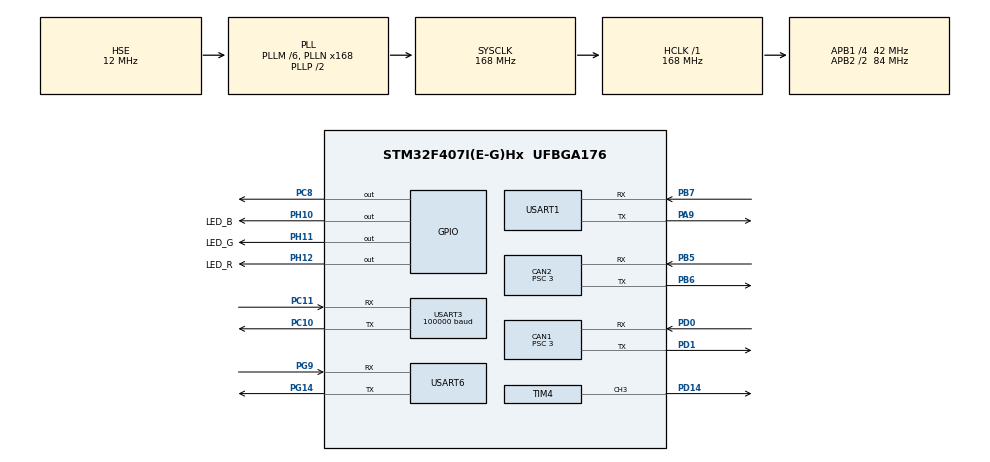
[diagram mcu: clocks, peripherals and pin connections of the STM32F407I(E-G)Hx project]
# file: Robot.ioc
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CAN1.ABOM=ENABLE
CAN1.AWUM=ENABLE
CAN1.BS1=CAN_BS1_10TQ
CAN1.BS2=CAN_BS2_3TQ
CAN1.CalculateBaudRate=1000000
CAN1.CalculateTimeBit=1000
CAN1.CalculateTimeQuantum=71.42857142857143
CAN1.Prescaler=3
CAN2.ABOM=ENABLE
CAN2.AWUM=ENABLE
CAN2.BS1=CAN_BS1_10TQ
CAN2.BS2=CAN_BS2_3TQ
CAN2.CalculateBaudRate=1000000
CAN2.CalculateTimeBit=1000
CAN2.CalculateTimeQuantum=71.42857142857143
CAN2.Prescaler=3
Dma.MEMTOMEM.1.Direction=DMA_MEMORY_TO_MEMORY
Dma.MEMTOMEM.1.FIFOMode=DMA_FIFOMODE_ENABLE
Dma.MEMTOMEM.1.FIFOThreshold=DMA_FIFO_THRESHOLD_FULL
Dma.MEMTOMEM.1.Instance=DMA2_Stream0
Dma.MEMTOMEM.1.MemBurst=DMA_MBURST_SINGLE
Dma.MEMTOMEM.1.MemDataAlignment=DMA_MDATAALIGN_BYTE
Dma.MEMTOMEM.1.MemInc=DMA_MINC_ENABLE
Dma.MEMTOMEM.1.Mode=DMA_NORMAL
Dma.MEMTOMEM.1.PeriphBurst=DMA_PBURST_SINGLE
Dma.MEMTOMEM.1.PeriphDataAlignment=DMA_PDATAALIGN_BYTE
Dma.MEMTOMEM.1.PeriphInc=DMA_PINC_ENABLE
Dma.MEMTOMEM.1.Priority=DMA_PRIORITY_LOW
Dma.Request0=USART3_RX
Dma.Request1=MEMTOMEM
Dma.Request2=USART6_RX
Dma.USART3_RX.0.Direction=DMA_PERIPH_TO_MEMORY
Dma.USART3_RX.0.FIFOMode=DMA_FIFOMODE_DISABLE
Dma.USART3_RX.0.Instance=DMA1_Stream1
Dma.USART3_RX.0.MemDataAlignment=DMA_MDATAALIGN_BYTE
Dma.USART3_RX.0.MemInc=DMA_MINC_ENABLE
Dma.USART3_RX.0.Mode=DMA_NORMAL
Dma.USART3_RX.0.PeriphDataAlignment=DMA_PDATAALIGN_BYTE
Dma.USART3_RX.0.PeriphInc=DMA_PINC_DISABLE
Dma.USART3_RX.0.Priority=DMA_PRIORITY_VERY_HIGH
Dma.USART6_RX.2.Direction=DMA_PERIPH_TO_MEMORY
Dma.USART6_RX.2.FIFOMode=DMA_FIFOMODE_DISABLE
Dma.USART6_RX.2.Instance=DMA2_Stream1
Dma.USART6_RX.2.MemDataAlignment=DMA_MDATAALIGN_BYTE
Dma.USART6_RX.2.MemInc=DMA_MINC_ENABLE
Dma.USART6_RX.2.Mode=DMA_NORMAL
Dma.USART6_RX.2.PeriphDataAlignment=DMA_PDATAALIGN_BYTE
Dma.USART6_RX.2.PeriphInc=DMA_PINC_DISABLE
Dma.USART6_RX.2.Priority=DMA_PRIORITY_MEDIUM
FREERTOS.Queues01=rcDataQueue,1,18,1,Dynamic,NULL,NULL;CtoCQueue,1,8,1,Dynamic,NULL,NULL;guardQueue,1,14,1,Dynamic,NULL,NULL
FREERTOS.Tasks01=DebugTask,24,128,StartDebugTask,Default,NULL,Dynamic,NULL,NULL;RemoteTask,24,128,StartRemoteTask,Default,NULL,Dynamic,NULL,NULL;CanTask,23,128,StartCanTask,Default,NULL,Dynamic,NULL,NULL;TOTask,20,128,StartTOTask,Default,NULL,Dynamic,NULL,NULL;CalTask,22,512,StartCalTask,Default,NULL,Dynamic,NULL,NULL
IWDG.Prescaler=IWDG_PRESCALER_128
IWDG.Reload=1250
Mcu.Family=STM32F4
Mcu.Name=STM32F407I(E-G)Hx
Mcu.Package=UFBGA176
NVIC.CAN1_RX0_IRQn=true\:5\:0\:false\:false\:true\:true\:true\:true\:true
NVIC.CAN1_RX1_IRQn=true\:5\:0\:false\:false\:true\:true\:true\:true\:true
NVIC.CAN2_RX0_IRQn=true\:5\:0\:false\:false\:true\:true\:true\:true\:true
NVIC.CAN2_RX1_IRQn=true\:5\:0\:false\:false\:true\:true\:true\:true\:true
NVIC.DMA1_Stream1_IRQn=true\:5\:0\:false\:false\:true\:true\:false\:true\:true
NVIC.DMA2_Stream1_IRQn=true\:5\:0\:false\:false\:true\:true\:false\:true\:true
NVIC.PriorityGroup=NVIC_PRIORITYGROUP_4
NVIC.TIM6_DAC_IRQn=true\:15\:0\:false\:false\:true\:false\:false\:true\:true
NVIC.TimeBase=TIM6_DAC_IRQn
NVIC.TimeBaseIP=TIM6
NVIC.USART1_IRQn=true\:5\:0\:false\:false\:true\:true\:true\:true\:true
NVIC.USART3_IRQn=true\:5\:0\:false\:false\:true\:true\:true\:true\:true
PA13.Mode=Serial_Wire
PA13.Signal=SYS_JTMS-SWDIO
PA14.Mode=Serial_Wire
PA14.Signal=SYS_JTCK-SWCLK
PA9.Mode=Asynchronous
PA9.Signal=USART1_TX
PB5.Mode=CAN_Activate
PB5.Signal=CAN2_RX
PB6.Mode=CAN_Activate
PB6.Signal=CAN2_TX
PB7.Mode=Asynchronous
PB7.Signal=USART1_RX
PC10.Mode=Asynchronous
PC10.Signal=USART3_TX
PC11.Mode=Asynchronous
PC11.Signal=USART3_RX
PC8.Signal=GPIO_Output
PD0.Mode=CAN_Activate
PD0.Signal=CAN1_RX
PD1.Mode=CAN_Activate
PD1.Signal=CAN1_TX
PD14.Signal=S_TIM4_CH3
PG14.Mode=Asynchronous
PG14.Signal=USART6_TX
PG9.Mode=Asynchronous
PG9.Signal=USART6_RX
PH0-OSC_IN.Mode=HSE-External-Oscillator
PH0-OSC_IN.Signal=RCC_OSC_IN
PH1-OSC_OUT.Mode=HSE-External-Oscillator
PH1-OSC_OUT.Signal=RCC_OSC_OUT
PH10.GPIO_Label=LED_B
PH10.Signal=GPIO_Output
PH11.GPIO_Label=LED_G
PH11.Signal=GPIO_Output
PH12.GPIO_Label=LED_R
PH12.Signal=GPIO_Output
ProjectManager.HeapSize=0x200
ProjectManager.StackSize=0x400
ProjectManager.TargetToolchain=STM32CubeIDE
RCC.48MHZClocksFreq_Value=84000000
RCC.AHBFreq_Value=168000000
RCC.APB1CLKDivider=RCC_HCLK_DIV4
RCC.APB1Freq_Value=42000000
RCC.APB1TimFreq_Value=84000000
RCC.APB2CLKDivider=RCC_HCLK_DIV2
RCC.APB2Freq_Value=84000000
RCC.APB2TimFreq_Value=168000000
RCC.CortexFreq_Value=168000000
RCC.EnbaleCSS=true
RCC.HCLKFreq_Value=168000000
RCC.HSE_VALUE=12000000
RCC.HSI_VALUE=16000000
RCC.LSE_VALUE=32768
RCC.PLLM=6
RCC.PLLN=168
RCC.PLLSourceVirtual=RCC_PLLSOURCE_HSE
RCC.SYSCLKFreq_VALUE=168000000
RCC.SYSCLKSource=RCC_SYSCLKSOURCE_PLLCLK
RCC.VCOOutputFreq_Value=336000000
SH.S_TIM4_CH3.0=TIM4_CH3,PWM Generation3 CH3
TIM4.Channel-PWM\ Generation3\ CH3=TIM_CHANNEL_3
USART1.VirtualMode=VM_ASYNC
USART3.BaudRate=100000
USART3.Mode=MODE_TX_RX
USART3.Parity=PARITY_EVEN
USART3.VirtualMode=VM_ASYNC
USART3.WordLength=WORDLENGTH_9B
USART6.Parity=PARITY_NONE
USART6.VirtualMode=VM_ASYNC
VP_FREERTOS_VS_CMSIS_V2.Mode=CMSIS_V2
VP_IWDG_VS_IWDG.Mode=IWDG_Activate
VP_SYS_VS_tim6.Mode=TIM6
VP_TIM4_VS_ClockSourceINT.Mode=Internal
board=custom

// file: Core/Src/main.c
/* USER CODE BEGIN Header */
/**
  ******************************************************************************
  * @file           : main.c
  * @brief          : Main program body
  ******************************************************************************
  * @attention
  *
  * Copyright (c) 2026 STMicroelectronics.
  * All rights reserved.
  *
  * This software is licensed under terms that can be found in the LICENSE file
  * in the root directory of this software component.
  * If no LICENSE file comes with this software, it is provided AS-IS.
  *
  ******************************************************************************
  */
/* USER CODE END Header */
#include "main.h"
#include "cmsis_os.h"
#include "can.h"
#include "dma.h"
#include "iwdg.h"
#include "tim.h"
#include "usart.h"
#include "gpio.h"

void SystemClock_Config(void);
void MX_FREERTOS_Init(void);

int main(void)
{

  /* MCU Configuration--------------------------------------------------------*/

  /* Reset of all peripherals, Initializes the Flash interface and the Systick. */
  HAL_Init();

  /* Configure the system clock */
  SystemClock_Config();

  /* Initialize all configured peripherals */
  MX_GPIO_Init();
  MX_DMA_Init();
  MX_USART1_UART_Init();
  MX_USART3_UART_Init();
  MX_CAN1_Init();
  MX_CAN2_Init();
  MX_USART6_UART_Init();
  MX_IWDG_Init();
  MX_TIM4_Init();

  /* Init scheduler */
  osKernelInitialize();  /* Call init function for freertos objects (in cmsis_os2.c) */
  MX_FREERTOS_Init();

  /* Start scheduler */
  osKernelStart();

  /* We should never get here as control is now taken by the scheduler */

  /* Infinite loop */
  while (1)
  {

  }
}

void SystemClock_Config(void)
{
  RCC_OscInitTypeDef RCC_OscInitStruct = {0};
  RCC_ClkInitTypeDef RCC_ClkInitStruct = {0};

  /** Configure the main internal regulator output voltage
  */
  __HAL_RCC_PWR_CLK_ENABLE();
  __HAL_PWR_VOLTAGESCALING_CONFIG(PWR_REGULATOR_VOLTAGE_SCALE1);

  /** Initializes the RCC Oscillators according to the specified parameters
  * in the RCC_OscInitTypeDef structure.
  */
  RCC_OscInitStruct.OscillatorType = RCC_OSCILLATORTYPE_LSI|RCC_OSCILLATORTYPE_HSE;
  RCC_OscInitStruct.HSEState = RCC_HSE_ON;
  RCC_OscInitStruct.LSIState = RCC_LSI_ON;
  RCC_OscInitStruct.PLL.PLLState = RCC_PLL_ON;
  RCC_OscInitStruct.PLL.PLLSource = RCC_PLLSOURCE_HSE;
  RCC_OscInitStruct.PLL.PLLM = 6;
  RCC_OscInitStruct.PLL.PLLN = 168;
  RCC_OscInitStruct.PLL.PLLP = RCC_PLLP_DIV2;
  RCC_OscInitStruct.PLL.PLLQ = 4;
  if (HAL_RCC_OscConfig(&RCC_OscInitStruct) != HAL_OK)
  {
    Error_Handler();
  }

  /** Initializes the CPU, AHB and APB buses clocks
  */
  RCC_ClkInitStruct.ClockType = RCC_CLOCKTYPE_HCLK|RCC_CLOCKTYPE_SYSCLK
                              |RCC_CLOCKTYPE_PCLK1|RCC_CLOCKTYPE_PCLK2;
  RCC_ClkInitStruct.SYSCLKSource = RCC_SYSCLKSOURCE_PLLCLK;
  RCC_ClkInitStruct.AHBCLKDivider = RCC_SYSCLK_DIV1;
  RCC_ClkInitStruct.APB1CLKDivider = RCC_HCLK_DIV4;
  RCC_ClkInitStruct.APB2CLKDivider = RCC_HCLK_DIV2;

  if (HAL_RCC_ClockConfig(&RCC_ClkInitStruct, FLASH_LATENCY_5) != HAL_OK)
  {
    Error_Handler();
  }

  /** Enables the Clock Security System
  */
  HAL_RCC_EnableCSS();
}

void HAL_TIM_PeriodElapsedCallback(TIM_HandleTypeDef *htim)
{
  if (htim->Instance == TIM6)
  {
    HAL_IncTick();
  }
}

void Error_Handler(void)
{
  __disable_irq();
  while (1)
  {
  }
}

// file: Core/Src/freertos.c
/* USER CODE BEGIN Header */
/**
 ******************************************************************************
 * File Name          : freertos.c
 * Description        : Code for freertos applications
 ******************************************************************************
 * @attention
 *
 * Copyright (c) 2025 STMicroelectronics.
 * All rights reserved.
 *
 * This software is licensed under terms that can be found in the LICENSE file
 * in the root directory of this software component.
 * If no LICENSE file comes with this software, it is provided AS-IS.
 *
 ******************************************************************************
 */
/* USER CODE END Header */

#include "FreeRTOS.h"
#include "task.h"
#include "main.h"
#include "cmsis_os.h"

/* USER CODE BEGIN Includes */
#include "stdio.h"
#include "stdlib.h"
#include "string.h"

// #include "usart.h"

#include "Motor.h"
#include "bsp_can.h"
#include "remote_control.h"

#include "Gimbal_Control.h"
#include "Gimbal_CtoC.h"
#include "Gimbal_Shoot.h"
#include "Gimbal_Trigger.h"
#include "Gimbal_PoseCalc.h"
#include "BMI088.h"

#include "CalTask_Yaw.h"
// #include "Chassis_Follow.h"  // 已不再使用，底盘补偿直接通过全局变量传递
// #include "Gimbal_SmallYaw.h"
// #include "Gimbal_Pitch.h"
// #include "Gimbal_Yaw.h"
// #include "new_Gimbal_Yaw.h"

/* USER CODE END Includes */

/* USER CODE BEGIN PTD */
extern CAN_HandleTypeDef hcan1;
extern CAN_HandleTypeDef hcan2;
extern DMA_HandleTypeDef hdma_usart1_tx;
extern DMA_HandleTypeDef hdma_usart3_rx;
extern DMA_HandleTypeDef hdma_usart6_rx;
extern UART_HandleTypeDef huart1;
extern UART_HandleTypeDef huart3;
extern UART_HandleTypeDef huart6;
extern IWDG_HandleTypeDef hiwdg;

/* USER CODE END PTD */

/* USER CODE BEGIN PD */

//  中断缓冲变量
uint8_t receiveData[18];
uint8_t receiveData_guard[14];

//  全局变量
RC_ctrl_t global_rc_control; // 全局遥控器数据
extern BMI088_Init_typedef Can_BMI088_Data;

int16_t origin_BigYaw_count = 4033;
int16_t origin_SmallYaw_count = 2375;

int16_t now_BigYaw_count = 0;
int16_t now_SmallYaw_count = 0;

extern int16_t virtual_big;
extern int16_t virtual_small;
extern float virtual_coord_debug;
extern float target_angle_debug;

/* USER CODE END PD */

/* USER CODE BEGIN PM */
void RC_Data_Print(RC_ctrl_t *rc_data);
/* USER CODE END PM */

/* Definitions for DebugTask */
osThreadId_t DebugTaskHandle;
const osThreadAttr_t DebugTask_attributes = {
  .name = "DebugTask",
  .stack_size = 128 * 4,
  .priority = (osPriority_t) osPriorityNormal,
};
/* Definitions for RemoteTask */
osThreadId_t RemoteTaskHandle;
const osThreadAttr_t RemoteTask_attributes = {
  .name = "RemoteTask",
  .stack_size = 128 * 4,
  .priority = (osPriority_t) osPriorityNormal,
};
/* Definitions for CanTask */
osThreadId_t CanTaskHandle;
const osThreadAttr_t CanTask_attributes = {
  .name = "CanTask",
  .stack_size = 128 * 4,
  .priority = (osPriority_t) osPriorityBelowNormal7,
};
/* Definitions for TOTask */
osThreadId_t TOTaskHandle;
const osThreadAttr_t TOTask_attributes = {
  .name = "TOTask",
  .stack_size = 128 * 4,
  .priority = (osPriority_t) osPriorityBelowNormal4,
};
/* Definitions for CalTask */
osThreadId_t CalTaskHandle;
const osThreadAttr_t CalTask_attributes = {
  .name = "CalTask",
  .stack_size = 512 * 4,
  .priority = (osPriority_t) osPriorityBelowNormal6,
};
/* Definitions for rcDataQueue */
osMessageQueueId_t rcDataQueueHandle;
const osMessageQueueAttr_t rcDataQueue_attributes = {
  .name = "rcDataQueue"
};
/* Definitions for CtoCQueue */
osMessageQueueId_t CtoCQueueHandle;
const osMessageQueueAttr_t CtoCQueue_attributes = {
  .name = "CtoCQueue"
};
/* Definitions for guardQueue */
osMessageQueueId_t guardQueueHandle;
const osMessageQueueAttr_t guardQueue_attributes = {
  .name = "guardQueue"
};

void StartDebugTask(void *argument);
void StartRemoteTask(void *argument);
void StartCanTask(void *argument);
void StartTOTask(void *argument);
void StartCalTask(void *argument);

void MX_FREERTOS_Init(void); /* (MISRA C 2004 rule 8.1) */

void MX_FREERTOS_Init(void) {
  /* USER CODE BEGIN Init */
    Can_Filter_Init();

    // 清除接收缓冲区并开始接收
    memset(receiveData, 0, sizeof(receiveData));
    memset(receiveData_guard, 0, sizeof(receiveData_guard));

    HAL_UARTEx_ReceiveToIdle_DMA(&huart3, receiveData, sizeof(receiveData));
    // HAL_UARTEx_ReceiveToIdle_DMA(&huart6, receiveData_guard, sizeof(receiveData_guard));

  /* USER CODE END Init */

  /* Create the queue(s) */
  /* creation of rcDataQueue */
  rcDataQueueHandle = osMessageQueueNew (1, 18, &rcDataQueue_attributes);

  /* creation of CtoCQueue */
  CtoCQueueHandle = osMessageQueueNew (1, 8, &CtoCQueue_attributes);

  /* creation of guardQueue */
  guardQueueHandle = osMessageQueueNew (1, 14, &guardQueue_attributes);

  /* Create the thread(s) */
  /* creation of DebugTask */
  DebugTaskHandle = osThreadNew(StartDebugTask, NULL, &DebugTask_attributes);

  /* creation of RemoteTask */
  RemoteTaskHandle = osThreadNew(StartRemoteTask, NULL, &RemoteTask_attributes);

  /* creation of CanTask */
  CanTaskHandle = osThreadNew(StartCanTask, NULL, &CanTask_attributes);

  /* creation of TOTask */
  TOTaskHandle = osThreadNew(StartTOTask, NULL, &TOTask_attributes);

  /* creation of CalTask */
  CalTaskHandle = osThreadNew(StartCalTask, NULL, &CalTask_attributes);

}

/* USER CODE BEGIN Header_StartDebugTask */
/**
 * @brief  Function implementing the DebugTask thread.
 * @param  argument: Not used
 * @retval None
 *
 * @note 校准模式：打印绝对角度，用于调整 BIGYAW_ANGLE_OFFSET
 *       目标：底盘摆正、云台朝前时，BigYaw_Absolute.Yaw ≈ 0
 */
/* USER CODE END Header_StartDebugTask */
void StartDebugTask(void *argument)
{
  /* USER CODE BEGIN StartDebugTask */
    // 外部引用姿态计算数据
    extern Gimbal_Absolute_Angle_t BigYaw_Absolute;
    extern Gimbal_Absolute_Angle_t SmallYaw_Absolute;
    extern float Chassis_IMU_Yaw;
    extern BMI088_Init_typedef Can_BMI088_Data;

    /* Infinite loop */
    for (;;)
    {
        HAL_GPIO_TogglePin(LED_R_GPIO_Port, LED_R_Pin);
        now_BigYaw_count = Can2_M6020_MotorStatus[0].Angle;
        now_SmallYaw_count = Can2_M6020_MotorStatus[1].Angle;

        // ============ 校准打印（每500ms）============
        static int calib_count = 0;
        calib_count++;
        if (calib_count >= 5) {  // 500ms打印一次
            calib_count = 0;

            // 浮点转整数打印（避免printf不支持浮点）
            int chassis_yaw_int = (int)(Chassis_IMU_Yaw * 100);
            int chassis_yaw_raw = (int)(Can_BMI088_Data.Yaw * 100);
            int bigyaw_int = (int)(BigYaw_Absolute.Yaw * 100);
            int smallyaw_int = (int)(SmallYaw_Absolute.Yaw * 100);

            printf("\n========== 云台角度校准 ==========\n");
            printf("底盘IMU Yaw:     %d.%02d (原始: %d.%02d)\n",
                   chassis_yaw_int / 100, abs(chassis_yaw_int % 100),
                   chassis_yaw_raw / 100, abs(chassis_yaw_raw % 100));
            printf("BigYaw 绝对角度:  %d.%02d (目标: 0)\n",
                   bigyaw_int / 100, abs(bigyaw_int % 100));
            printf("SmallYaw 绝对角度:%d.%02d\n",
                   smallyaw_int / 100, abs(smallyaw_int % 100));
            printf("BigYaw 编码器:    %d\n", now_BigYaw_count);
            printf("SmallYaw 编码器:  %d\n", now_SmallYaw_count);
            printf("================================\n");

            // 校准提示（用整数判断）
            if (abs(bigyaw_int) > 1000) {  // > 10.00度
                printf("[校准提示] BigYaw偏移%d.%02d度\n",
                       bigyaw_int / 100, abs(bigyaw_int % 100));
                printf("[建议] 新偏移 = 186 + %d.%02d\n",
                       bigyaw_int / 100, abs(bigyaw_int % 100));
            }
        }

        osDelay(100);
    }
  /* USER CODE END StartDebugTask */
}

void StartRemoteTask(void *argument)
{
  /* USER CODE BEGIN StartRemoteTask */
    uint8_t raw_rc_data[18] = {0}; // 原始接收缓冲区
    uint8_t raw_guard_data[14] = {0}; // 原始接收缓冲区
    RC_ctrl_t current_rc_data = {0};
    uint8_t num = 0;
    /* Infinite loop */
    for (;;)
    {
        if (osMessageQueueGet(rcDataQueueHandle, raw_rc_data, NULL, 100) == osOK)
        {
            // 解析原始数据到结构体
            Message_Remote_to_rc(raw_rc_data, &current_rc_data);

            // 更新全局变量（供其他任务使用）
            memcpy(&global_rc_control, &current_rc_data, sizeof(RC_ctrl_t));

            // 处理遥控器数据
            if (num > 20)
            {
                // RC_Data_Print(&current_rc_data);

                // 喂狗
                HAL_IWDG_Refresh(&hiwdg);
                num = 0;
            }
            num++;
        }
        else if (osMessageQueueGet(guardQueueHandle, raw_guard_data, NULL, 100) == osOK)
        {
            // 解析原始数据到结构体
            Message_Remote_to_rc_guard(raw_guard_data, &current_rc_data);

            // 更新全局变量（供其他任务使用）
            memcpy(&global_rc_control, &current_rc_data, sizeof(RC_ctrl_t));

            // 处理遥控器数据
            if (num > 20)
            {
                // RC_Data_Print(&current_rc_data);

                // 喂狗
                HAL_IWDG_Refresh(&hiwdg);
                num = 0;
            }
            num++;
        }
    }
  /* USER CODE END StartRemoteTask */
}

/* USER CODE BEGIN Header_StartCanTask */
/**
 * @brief Function implementing the CanTask thread.
 * @param argument: Not used
 * @retval None
 *
 * @note 1ms控制周期 (1000Hz)
 */
/* USER CODE END Header_StartCanTask */
void StartCanTask(void *argument)
{
  /* USER CODE BEGIN StartCanTask */
    osDelay(100);
    Gimbal_Control_Init();
    Gimbal_Shoot_Init();
    Gimbal_Trigger_Init();
    /* Infinite loop */
    for (;;)
    {
        Gimbal_CtoC_Remote();
        Gimbal_Trigger_Control();
        Gimbal_Shoot_Control();
        Gimbal_Control_Loop();

        osDelay(1);  // 1ms = 1000Hz
    }
  /* USER CODE END StartCanTask */
}

void StartTOTask(void *argument)
{
  /* USER CODE BEGIN StartTOTask */
    uint8_t raw_CtoC_data[8];
    BMI088_Init_typedef current_CtoC_data = {0};
    /* Infinite loop */
    for (;;)
    {
        if (osMessageQueueGet(CtoCQueueHandle, raw_CtoC_data, NULL, osWaitForever) == osOK)
        {
            // 解析原始数据到结构体
            CToC_AngleProcess(raw_CtoC_data, &current_CtoC_data);

            // 打印原始数据
            // printf("raw_CtoC_data: %02X %02X %02X %02X %02X %02X %02X %02X\n",
            //        raw_CtoC_data[0], raw_CtoC_data[1],
            //        raw_CtoC_data[2], raw_CtoC_data[3],
            //        raw_CtoC_data[4], raw_CtoC_data[5],
            //        raw_CtoC_data[6], raw_CtoC_data[7]);

            // 更新全局变量（供其他任务使用）
            memcpy(&Can_BMI088_Data, &current_CtoC_data, sizeof(BMI088_Init_typedef));

            // printf("CtoC Data Received: Yaw=%.2f, Pitch=%.2f, Roll=%.2f\n",
            //        Can_BMI088_Data.Yaw,
            //        Can_BMI088_Data.Pitch,
            //        Can_BMI088_Data.Roll);
        }
    }
  /* USER CODE END StartTOTask */
}

/* USER CODE BEGIN Header_StartCalTask */
/**
 * @brief Function implementing the CalTask thread.
 * @param argument: Not used
 * @retval None
 *
 * @note 哨兵专用：1ms周期，10ms读取IMU，平均分配到10ms
 *       这种方式更平滑，避免插值累积误差
 */
/* USER CODE END Header_StartCalTask */
void StartCalTask(void *argument)
{
  /* USER CODE BEGIN StartCalTask */
    osDelay(50);

    float last_chassis_yaw = 0.0f;
    uint8_t first_run = 1;
    int count = 0;

    /* Infinite loop */
    for (;;)
    {
        // 每10ms采样一次IMU
        if (count == 0)
        {
            float chassis_yaw = Can_BMI088_Data.Yaw;
            uint16_t bigyaw_encoder = Can2_M6020_MotorStatus[0].Angle;

            // 计算delta_yaw（这次 - 上次），处理环绕
            float delta_yaw = 0.0f;
            if (!first_run) {
                delta_yaw = chassis_yaw - last_chassis_yaw;
                if (delta_yaw > 180.0f) delta_yaw -= 360.0f;
                if (delta_yaw < -180.0f) delta_yaw += 360.0f;
            }

            // 更新绝对角度（蓝图公式）
            Gimbal_PoseCalc_Update(chassis_yaw, bigyaw_encoder, delta_yaw, first_run);

            last_chassis_yaw = chassis_yaw;
            first_run = 0;
        }

        count++;
        if (count >= 10) count = 0;
        osDelay(1);  // 1ms周期
    }
  /* USER CODE END StartCalTask */
}

/* USER CODE BEGIN Application */
void HAL_UARTEx_RxEventCallback(UART_HandleTypeDef *huart, uint16_t Size)
{
    if (huart->Instance == USART3)
    {
        // 通过队列发送原始数据（在中断中不做解析）
        if (rcDataQueueHandle != NULL)
        {
            osMessageQueuePut(rcDataQueueHandle, receiveData, 0, 0);
        }

        // 清除IDLE中断标志
        __HAL_UART_CLEAR_IDLEFLAG(huart);

        // 重新启动DMA接收
        HAL_UARTEx_ReceiveToIdle_DMA(&huart3, receiveData, sizeof(receiveData));

        // 禁止半传送中断
        __HAL_DMA_DISABLE_IT(&hdma_usart3_rx, DMA_IT_HT);
    }

    else if (huart->Instance == USART6)
    {
        // 通过队列发送原始数据（在中断中不做解析）
        if (guardQueueHandle != NULL)
        {
            // osMessageQueuePut(rcDataQueueHandle, receiveData, 0, 0);
            osMessageQueuePut(guardQueueHandle, receiveData_guard, 0, 0);
        }

        // 清除IDLE中断标志
        __HAL_UART_CLEAR_IDLEFLAG(huart);

        // 重新启动DMA接收
        HAL_UARTEx_ReceiveToIdle_DMA(&huart6, receiveData_guard, sizeof(receiveData_guard));

        // 禁止半传送中断
        __HAL_DMA_DISABLE_IT(&hdma_usart6_rx, DMA_IT_HT);
    }
}

void HAL_UART_ErrorCallback(UART_HandleTypeDef *huart)
{
    if (huart->Instance == USART3)
    {
        // 打印错误信息
        printf("UART Error: 0x%02lX\n", huart->ErrorCode);

        // 清除错误标志
        __HAL_UART_CLEAR_FLAG(huart, UART_FLAG_PE | UART_FLAG_FE | UART_FLAG_NE | UART_FLAG_ORE);

        // 重新初始化UART接收
        memset(receiveData, 0, sizeof(receiveData));
        HAL_UARTEx_ReceiveToIdle_DMA(&huart3, receiveData, sizeof(receiveData));
        __HAL_DMA_DISABLE_IT(&hdma_usart3_rx, DMA_IT_HT);
    }

    else if (huart->Instance == USART6)
    {
        // 打印错误信息
        printf("UART Error: 0x%02lX\n", huart->ErrorCode);

        // 清除错误标志
        __HAL_UART_CLEAR_FLAG(huart, UART_FLAG_PE | UART_FLAG_FE | UART_FLAG_NE | UART_FLAG_ORE);

        // 重新初始化UART接收
        memset(receiveData_guard, 0, sizeof(receiveData_guard));
        HAL_UARTEx_ReceiveToIdle_DMA(&huart6, receiveData_guard, sizeof(receiveData_guard));
        __HAL_DMA_DISABLE_IT(&hdma_usart6_rx, DMA_IT_HT);
    }
}

void HAL_CAN_RxFifo0MsgPendingCallback(CAN_HandleTypeDef *hcan)
{
    CAN_RxHeaderTypeDef rx_header;
    uint8_t rx_data[8];

    // 读取接收到的消息
    if (HAL_CAN_GetRxMessage(hcan, CAN_RX_FIFO0, &rx_header, rx_data) != HAL_OK)
        return; // 安全检查

    // 只处理标准帧
    if (rx_header.IDE != CAN_ID_STD)
        return;

    // 根据 CAN 外设实例区分总线
    if (hcan == &hcan1)
    {
        switch (rx_header.StdId)
        {
        case 0x201:
            CAN1_M3508_DataProcess(0x201, rx_data);
            break;
        case 0x202:
            CAN1_M3508_DataProcess(0x202, rx_data);
            break;
        case 0x203:
            break;
        case 0x204:
            break;
        case 0x205:
            break;
        case 0x206:
            CAN1_M6020_DataProcess(0x206, rx_data);
            break;
        case 0x207:
            CAN1_M2006_DataProcess(0x207, rx_data);
            break;
        case 0x208:
            break;
        default: {
            break;
        }
        }
    }
    else if (hcan == &hcan2)
    {
        switch (rx_header.StdId)
        {
        case 0x201:
            break;
        case 0x202:
            break;
        case 0x203:
            break;
        case 0x204:
            break;
        case 0x205:
            CAN2_M6020_DataProcess(0x205, rx_data);
            break;
        case 0x206:
            CAN2_M6020_DataProcess(0x206, rx_data);
            break;
        case 0x207:
            break;
        case 0x208:
            break;

        case 0x146: {
            // 将数据放入队列，交给任务处理
            if (CtoCQueueHandle != NULL)
            {
                osMessageQueuePut(CtoCQueueHandle, rx_data, 0, 0);
            }
            break;
        }
        default: {
            break;
        }
        }
    }
}

int _write(int fd, char *ptr, int len)
{
    HAL_UART_Transmit(&huart6, (uint8_t *)ptr, len, HAL_MAX_DELAY);
    return len;
}

void RC_Data_Print(RC_ctrl_t *rc_data)
{
    if (rc_data == NULL)
        return;

    printf("RC Channels: %d,%d,%d,%d,%d\n",
           rc_data->rc.ch[0], rc_data->rc.ch[1],
           rc_data->rc.ch[2], rc_data->rc.ch[3], rc_data->rc.ch[4]);
    printf("Switch: %d,%d\n",
           rc_data->rc.s[0], rc_data->rc.s[1]);
    // printf("Mouse: x=%d,y=%d,z=%d,press=%d,%d\n",
    //        rc_data->mouse.x, rc_data->mouse.y, rc_data->mouse.z,
    //        rc_data->mouse.press_l, rc_data->mouse.press_r);
    printf("\n");
}

/* USER CODE END Application */
